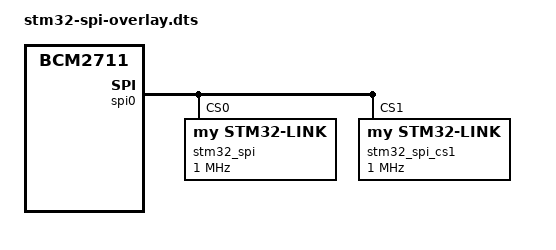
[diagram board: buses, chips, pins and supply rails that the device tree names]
/dts-v1/;
/plugin/;
/ {
    // 오버레이가 적용될 대상 하드웨어 (Broadcom 2711 = 라즈베리파이4)
    compatible = "brcm,bcm2711";
    fragment@0 {
        target = <&spi0>;
        __overlay__ {
            // SPI0 컨트롤러를 활성화 상태로 변경
            status = "okay";
            #address-cells = <1>;
            #size-cells = <0>;

            // 기존의 일반적인 spidev는 비활성화 (충돌 방지)
            spidev@0 { status = "disabled"; }; 

            // STM32 통신 전용 노드 정의
            stm32_spi: stm32_spi@0 {
                compatible = "my,stm32-link"; // 어떤 이름의 드라이버 로드할지 결정
                reg = <0>; // Chip Select CE0 (GPIO 8) 연결 확인
                spi-max-frequency = <1000000>; // SPI 통신 최대 속도 (1MHz로 안전하게 시작)
            };

            spidev@1 { status = "disabled"; };
            stm32_spi_cs1: stm32_spi@1 {
                compatible = "my,stm32-link";
                reg = <1>; 
                spi-max-frequency = <1000000>;
            };
        };
    };
};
